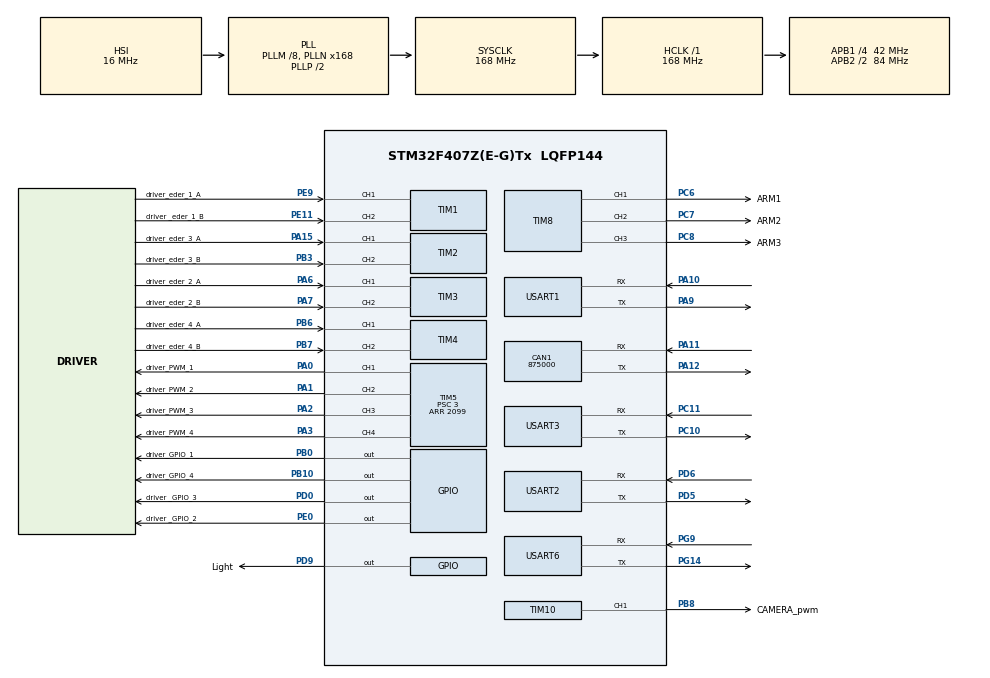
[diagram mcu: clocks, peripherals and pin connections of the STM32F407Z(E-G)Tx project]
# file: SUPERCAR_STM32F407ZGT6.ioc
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CAN1.BS1=CAN_BS1_1TQ
CAN1.BS2=CAN_BS2_1TQ
CAN1.CalculateBaudRate=875000
CAN1.CalculateTimeBit=1142
CAN1.CalculateTimeQuantum=380.95238095238096
Dma.Request0=USART3_RX
Dma.USART3_RX.0.Direction=DMA_PERIPH_TO_MEMORY
Dma.USART3_RX.0.FIFOMode=DMA_FIFOMODE_DISABLE
Dma.USART3_RX.0.Instance=DMA1_Stream1
Dma.USART3_RX.0.MemDataAlignment=DMA_MDATAALIGN_BYTE
Dma.USART3_RX.0.MemInc=DMA_MINC_ENABLE
Dma.USART3_RX.0.Mode=DMA_NORMAL
Dma.USART3_RX.0.PeriphDataAlignment=DMA_PDATAALIGN_BYTE
Dma.USART3_RX.0.PeriphInc=DMA_PINC_DISABLE
Dma.USART3_RX.0.Priority=DMA_PRIORITY_LOW
Mcu.Family=STM32F4
Mcu.Name=STM32F407Z(E-G)Tx
Mcu.Package=LQFP144
NVIC.DMA1_Stream1_IRQn=true\:0\:0\:false\:false\:true\:false\:true\:true
NVIC.PriorityGroup=NVIC_PRIORITYGROUP_4
NVIC.TIM6_DAC_IRQn=true\:0\:0\:false\:false\:true\:true\:true\:true
NVIC.USART3_IRQn=true\:0\:0\:true\:false\:true\:true\:true\:true
PA0-WKUP.GPIO_Label=driver_PWM_1
PA0-WKUP.Signal=S_TIM5_CH1
PA1.GPIO_Label=driver_PWM_2
PA1.Signal=S_TIM5_CH2
PA10.Mode=Asynchronous
PA10.Signal=USART1_RX
PA11.Mode=CAN_Activate
PA11.Signal=CAN1_RX
PA12.Mode=CAN_Activate
PA12.Signal=CAN1_TX
PA13.Mode=Serial_Wire
PA13.Signal=SYS_JTMS-SWDIO
PA14.Mode=Serial_Wire
PA14.Signal=SYS_JTCK-SWCLK
PA15.GPIO_Label=driver_eder_3_A
PA15.Signal=S_TIM2_CH1_ETR
PA2.GPIO_Label=driver_PWM_3
PA2.Signal=S_TIM5_CH3
PA3.GPIO_Label=driver_PWM_4
PA3.Signal=S_TIM5_CH4
PA6.GPIO_Label=driver_eder_2_A
PA6.Signal=S_TIM3_CH1
PA7.GPIO_Label=driver_eder_2_B
PA7.Signal=S_TIM3_CH2
PA9.Mode=Asynchronous
PA9.Signal=USART1_TX
PB0.GPIO_Label=driver_GPIO_1
PB0.Signal=GPIO_Output
PB10.GPIO_Label=driver_GPIO_4
PB10.Signal=GPIO_Output
PB3.GPIO_Label=driver_eder_3_B
PB3.Signal=S_TIM2_CH2
PB6.GPIO_Label=driver_eder_4_A
PB6.Signal=S_TIM4_CH1
PB7.GPIO_Label=driver_eder_4_B
PB7.Signal=S_TIM4_CH2
PB8.GPIO_Label=CAMERA_pwm
PB8.Signal=S_TIM10_CH1
PC10.Mode=Asynchronous
PC10.Signal=USART3_TX
PC11.Mode=Asynchronous
PC11.Signal=USART3_RX
PC14-OSC32_IN.Mode=LSE-External-Oscillator
PC14-OSC32_IN.Signal=RCC_OSC32_IN
PC15-OSC32_OUT.Mode=LSE-External-Oscillator
PC15-OSC32_OUT.Signal=RCC_OSC32_OUT
PC6.GPIO_Label=ARM1
PC6.Signal=S_TIM8_CH1
PC7.GPIO_Label=ARM2
PC7.Signal=S_TIM8_CH2
PC8.GPIO_Label=ARM3
PC8.Signal=S_TIM8_CH3
PD0.GPIO_Label=driver _GPIO_3
PD0.Signal=GPIO_Output
PD5.Mode=Asynchronous
PD5.Signal=USART2_TX
PD6.Mode=Asynchronous
PD6.Signal=USART2_RX
PD9.GPIO_Label=Light
PD9.Signal=GPIO_Output
PE0.GPIO_Label=driver _GPIO_2
PE0.Signal=GPIO_Output
PE11.GPIO_Label=driver _eder_1_B
PE11.Signal=S_TIM1_CH2
PE9.GPIO_Label=driver_eder_1_A
PE9.Signal=S_TIM1_CH1
PG14.Mode=Asynchronous
PG14.Signal=USART6_TX
PG9.Mode=Asynchronous
PG9.Signal=USART6_RX
PH0-OSC_IN.Mode=HSE-External-Oscillator
PH0-OSC_IN.Signal=RCC_OSC_IN
PH1-OSC_OUT.Mode=HSE-External-Oscillator
PH1-OSC_OUT.Signal=RCC_OSC_OUT
ProjectManager.HeapSize=0x200
ProjectManager.StackSize=0x400
ProjectManager.TargetToolchain=CMake
RCC.48MHZClocksFreq_Value=84000000
RCC.AHBFreq_Value=168000000
RCC.APB1CLKDivider=RCC_HCLK_DIV4
RCC.APB1Freq_Value=42000000
RCC.APB1TimFreq_Value=84000000
RCC.APB2CLKDivider=RCC_HCLK_DIV2
RCC.APB2Freq_Value=84000000
RCC.APB2TimFreq_Value=168000000
RCC.CortexFreq_Value=168000000
RCC.HCLKFreq_Value=168000000
RCC.HSE_VALUE=25000000
RCC.HSI_VALUE=16000000
RCC.PLLM=8
RCC.PLLN=168
RCC.SYSCLKFreq_VALUE=168000000
RCC.SYSCLKSource=RCC_SYSCLKSOURCE_PLLCLK
RCC.VCOOutputFreq_Value=336000000
SH.S_TIM10_CH1.0=TIM10_CH1,PWM Generation1 CH1
SH.S_TIM1_CH1.0=TIM1_CH1,Encoder_Interface
SH.S_TIM1_CH2.0=TIM1_CH2,Encoder_Interface
SH.S_TIM2_CH1_ETR.0=TIM2_CH1,Encoder_Interface
SH.S_TIM2_CH2.0=TIM2_CH2,Encoder_Interface
SH.S_TIM3_CH1.0=TIM3_CH1,Encoder_Interface
SH.S_TIM3_CH2.0=TIM3_CH2,Encoder_Interface
SH.S_TIM4_CH1.0=TIM4_CH1,Encoder_Interface
SH.S_TIM4_CH2.0=TIM4_CH2,Encoder_Interface
SH.S_TIM5_CH1.0=TIM5_CH1,PWM Generation1 CH1
SH.S_TIM5_CH2.0=TIM5_CH2,PWM Generation2 CH2
SH.S_TIM5_CH3.0=TIM5_CH3,PWM Generation3 CH3
SH.S_TIM5_CH4.0=TIM5_CH4,PWM Generation4 CH4
SH.S_TIM8_CH1.0=TIM8_CH1,PWM Generation1 CH1
SH.S_TIM8_CH2.0=TIM8_CH2,PWM Generation2 CH2
SH.S_TIM8_CH3.0=TIM8_CH3,PWM Generation3 CH3
STMicroelectronics.X-CUBE-ALGOBUILD.1.4.0.LibraryCcDSPOoLibraryJjDSPOoLibrary=true
TIM10.Channel=TIM_CHANNEL_1
TIM5.AutoReloadPreload=TIM_AUTORELOAD_PRELOAD_ENABLE
TIM5.Channel-PWM\ Generation1\ CH1=TIM_CHANNEL_1
TIM5.Channel-PWM\ Generation2\ CH2=TIM_CHANNEL_2
TIM5.Channel-PWM\ Generation3\ CH3=TIM_CHANNEL_3
TIM5.Channel-PWM\ Generation4\ CH4=TIM_CHANNEL_4
TIM5.Period=2099
TIM5.Prescaler=3
TIM6.AutoReloadPreload=TIM_AUTORELOAD_PRELOAD_ENABLE
TIM6.Period=9999
TIM6.Prescaler=83
TIM8.Channel-PWM\ Generation1\ CH1=TIM_CHANNEL_1
TIM8.Channel-PWM\ Generation2\ CH2=TIM_CHANNEL_2
TIM8.Channel-PWM\ Generation3\ CH3=TIM_CHANNEL_3
USART1.VirtualMode=VM_ASYNC
USART2.VirtualMode=VM_ASYNC
USART3.VirtualMode=VM_ASYNC
USART6.VirtualMode=VM_ASYNC
VP_STMicroelectronics.X-CUBE-ALGOBUILD_VS_DSPOoLibraryJjLibrary_1.4.0_1.4.0.Mode=DSPOoLibraryJjLibrary
VP_TIM10_VS_ClockSourceINT.Mode=Enable_Timer
VP_TIM6_VS_ClockSourceINT.Mode=Enable_Timer
board=custom

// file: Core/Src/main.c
/* USER CODE BEGIN Header */
/**
 ******************************************************************************
 * @file           : main.c
 * @brief          : Main program body
 ******************************************************************************
 * @attention
 *
 * Copyright (c) 2025 STMicroelectronics.
 * All rights reserved.
 *
 * This software is licensed under terms that can be found in the LICENSE file
 * in the root directory of this software component.
 * If no LICENSE file comes with this software, it is provided AS-IS.
 *
 ******************************************************************************
 */
/* USER CODE END Header */
#include "main.h"
#include "can.h"
#include "dma.h"
#include "tim.h"
#include "usart.h"
#include "gpio.h"

/* USER CODE BEGIN Includes */
#include "init.h"
/* USER CODE END Includes */

void SystemClock_Config(void);
/* USER CODE BEGIN PFP */
extern Encoder encoder_;

extern JY61P_Acc g_jy61p_acc;
extern JY61P_Gyro g_jy61p_gyro;
extern JY61P_Angle g_jy61p_angle;
extern JY61P_Tim g_jy61p_Tim;
extern PID_Struct motor1_PID;
/* USER CODE END PFP */

/* USER CODE BEGIN 0 */
float output = 0;
float target = 0.5;

/* USER CODE END 0 */

int main(void)
{

  /* MCU Configuration--------------------------------------------------------*/

  /* Reset of all peripherals, Initializes the Flash interface and the Systick. */
  HAL_Init();

  /* Configure the system clock */
  SystemClock_Config();

  /* Initialize all configured peripherals */
  MX_GPIO_Init();
  MX_DMA_Init();
  MX_TIM1_Init();
  MX_TIM2_Init();
  MX_TIM3_Init();
  MX_TIM4_Init();
  MX_TIM5_Init();
  MX_TIM8_Init();
  MX_TIM10_Init();
  MX_USART3_UART_Init();
  MX_USART6_UART_Init();
  MX_USART1_UART_Init();
  MX_USART2_UART_Init();
  MX_CAN1_Init();
  MX_TIM6_Init();
  /* USER CODE BEGIN 2 */
  All_Init();
  Motor_StartPWM();
  int arr = 0;
  float cnt = HAL_GetTick();
  float last_cnt = 0.0f;

  /* USER CODE END 2 */

  /* Infinite loop */
  /* USER CODE BEGIN WHILE */
  while (1)
  {
    cnt = HAL_GetTick();
    switch (arr)
    {
    case 0:
      target = 0.5;
      if (cnt - last_cnt > 1500)
      {
        arr = 1;
        last_cnt = cnt;
      }
      break;
    case 1:
      target = -0.5;
      if (cnt - last_cnt > 1500)
      {
        arr = 0;
        last_cnt = cnt;
      }
      break;
    }
    /* USER CODE END WHILE */

    /* USER CODE BEGIN 3 */
    // motor1_control(target);
    // motor2_control(target);
    // motor3_control(target);
    // motor4_control(target);
    Set_Chassis_Vel(target, 0, 0);
  }
  /* USER CODE END 3 */
}

void SystemClock_Config(void)
{
  RCC_OscInitTypeDef RCC_OscInitStruct = {0};
  RCC_ClkInitTypeDef RCC_ClkInitStruct = {0};

  /** Configure the main internal regulator output voltage
  */
  __HAL_RCC_PWR_CLK_ENABLE();
  __HAL_PWR_VOLTAGESCALING_CONFIG(PWR_REGULATOR_VOLTAGE_SCALE1);

  /** Initializes the RCC Oscillators according to the specified parameters
  * in the RCC_OscInitTypeDef structure.
  */
  RCC_OscInitStruct.OscillatorType = RCC_OSCILLATORTYPE_HSI;
  RCC_OscInitStruct.HSIState = RCC_HSI_ON;
  RCC_OscInitStruct.HSICalibrationValue = RCC_HSICALIBRATION_DEFAULT;
  RCC_OscInitStruct.PLL.PLLState = RCC_PLL_ON;
  RCC_OscInitStruct.PLL.PLLSource = RCC_PLLSOURCE_HSI;
  RCC_OscInitStruct.PLL.PLLM = 8;
  RCC_OscInitStruct.PLL.PLLN = 168;
  RCC_OscInitStruct.PLL.PLLP = RCC_PLLP_DIV2;
  RCC_OscInitStruct.PLL.PLLQ = 4;
  if (HAL_RCC_OscConfig(&RCC_OscInitStruct) != HAL_OK)
  {
    Error_Handler();
  }

  /** Initializes the CPU, AHB and APB buses clocks
  */
  RCC_ClkInitStruct.ClockType = RCC_CLOCKTYPE_HCLK|RCC_CLOCKTYPE_SYSCLK
                              |RCC_CLOCKTYPE_PCLK1|RCC_CLOCKTYPE_PCLK2;
  RCC_ClkInitStruct.SYSCLKSource = RCC_SYSCLKSOURCE_PLLCLK;
  RCC_ClkInitStruct.AHBCLKDivider = RCC_SYSCLK_DIV1;
  RCC_ClkInitStruct.APB1CLKDivider = RCC_HCLK_DIV4;
  RCC_ClkInitStruct.APB2CLKDivider = RCC_HCLK_DIV2;

  if (HAL_RCC_ClockConfig(&RCC_ClkInitStruct, FLASH_LATENCY_5) != HAL_OK)
  {
    Error_Handler();
  }
}

void Error_Handler(void)
{
  __disable_irq();
  while (1)
  {
  }
}
